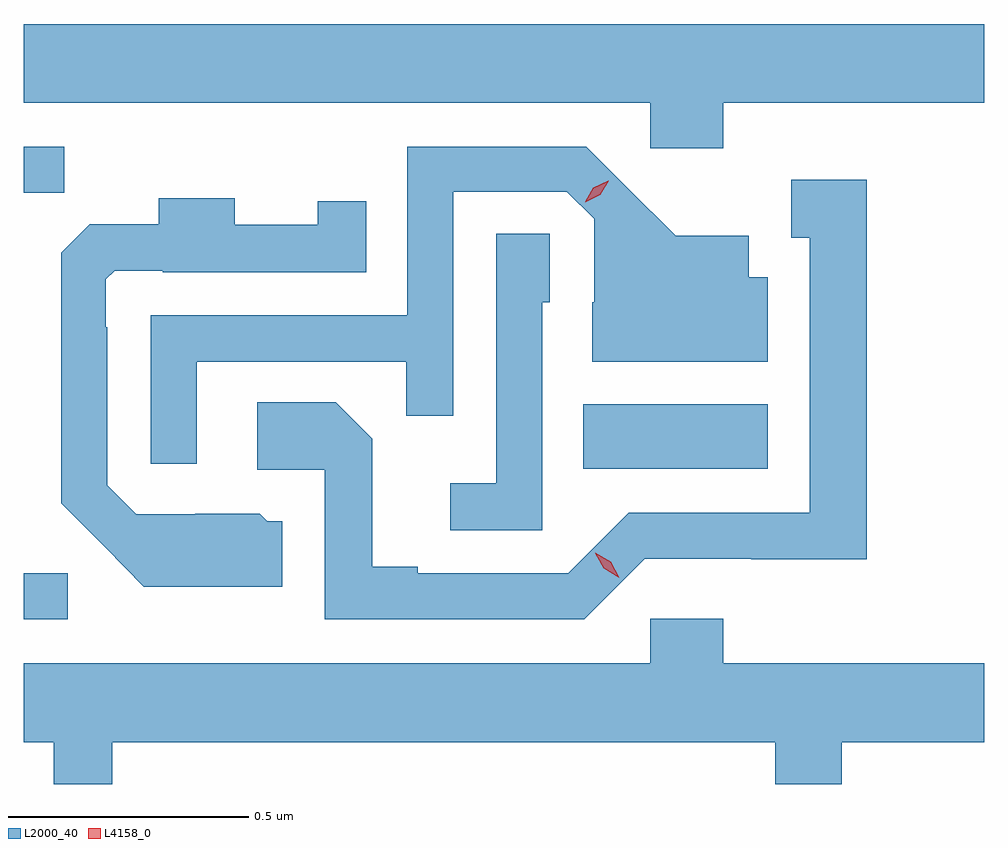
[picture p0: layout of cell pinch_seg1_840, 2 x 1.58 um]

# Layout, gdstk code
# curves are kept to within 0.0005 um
import gdstk
lib = gdstk.Library(unit=1e-6, precision=1e-09)
def R(c, l, rs):  # rectangles x0, y0, x1, y1
    for r in rs: c.add(gdstk.rectangle(r[:2], r[2:], *l))
def P(c, l, *ps):  # polygons
    for p in ps: c.add(gdstk.Polygon(p, *l))
L2000_40 = (2000, 40)
L4158_0 = (4158, 0)

pinch_seg1_840 = lib.new_cell('pinch_seg1_840')
R(pinch_seg1_840, L2000_40, [(461.433,563.976,461.524,564.072), (462.598,564.29,462.982,564.424), (461.433,564.865,461.517,564.96)])
P(pinch_seg1_840, L2000_40, [(462.89,565.052),(463.433,565.052),(463.433,565.216),(461.433,565.216),(461.433,565.052),(462.738,565.052),(462.738,564.957),(462.89,564.957)],
  [(461.793,564.513),(462.229,564.513),(462.229,564.4),(462.327,564.4),(462.327,564.867),(462.564,564.867),(462.621,564.81),(462.621,564.636),(462.617,564.636),(462.617,564.512),(462.982,564.512),(462.982,564.688),(462.943,564.688),(462.943,564.775),(462.791,564.775),(462.604,564.96),(462.231,564.96),(462.231,564.609),(461.697,564.609),(461.697,564.3),(461.793,564.3)],
  [(462.726,564.102),(462.948,564.102),(462.948,564.101),(463.189,564.101),(463.189,564.892),(463.031,564.892),(463.031,564.771),(463.07,564.771),(463.07,564.198),(462.693,564.198),(462.567,564.072),(462.253,564.072),(462.253,564.085),(462.159,564.085),(462.159,564.352),(462.083,564.428),(461.919,564.428),(461.919,564.288),(462.06,564.288),(462.06,563.976),(462.6,563.976)],
  [(461.971,564.18),(461.94,564.18),(461.924,564.196),(461.79,564.196),(461.79,564.195),(461.667,564.195),(461.607,564.255),(461.607,564.584),(461.604,564.584),(461.604,564.684),(461.622,564.702),(461.722,564.702),(461.722,564.699),(462.146,564.699),(462.146,564.847),(462.045,564.847),(462.045,564.798),(461.872,564.798),(461.872,564.853),(461.714,564.853),(461.714,564.799),(461.57,564.799),(461.511,564.74),(461.511,564.218),(461.683,564.044),(461.971,564.044)],
  [(462.513,564.636),(462.528,564.636),(462.528,564.779),(462.417,564.779),(462.417,564.259),(462.321,564.259),(462.321,564.162),(462.513,564.162)],
  [(461.617,563.72),(462.998,563.72),(462.998,563.633),(463.137,563.633),(463.137,563.72),(463.433,563.72),(463.433,563.884),(462.89,563.884),(462.89,563.977),(462.738,563.977),(462.738,563.884),(461.433,563.884),(461.433,563.72),(461.495,563.72),(461.495,563.633),(461.617,563.633)])
P(pinch_seg1_840, L4158_0, [(462.673,564.063),(462.641,564.082),(462.623,564.114),(462.623,564.115),(462.623,564.115),(462.655,564.096),(462.673,564.063),(462.673,564.063)],
  [(462.602,564.845),(462.602,564.846),(462.619,564.875),(462.65,564.89),(462.651,564.89),(462.651,564.89),(462.633,564.86),(462.602,564.845)])

lib.write_gds('pinch_seg1_840.gds')
